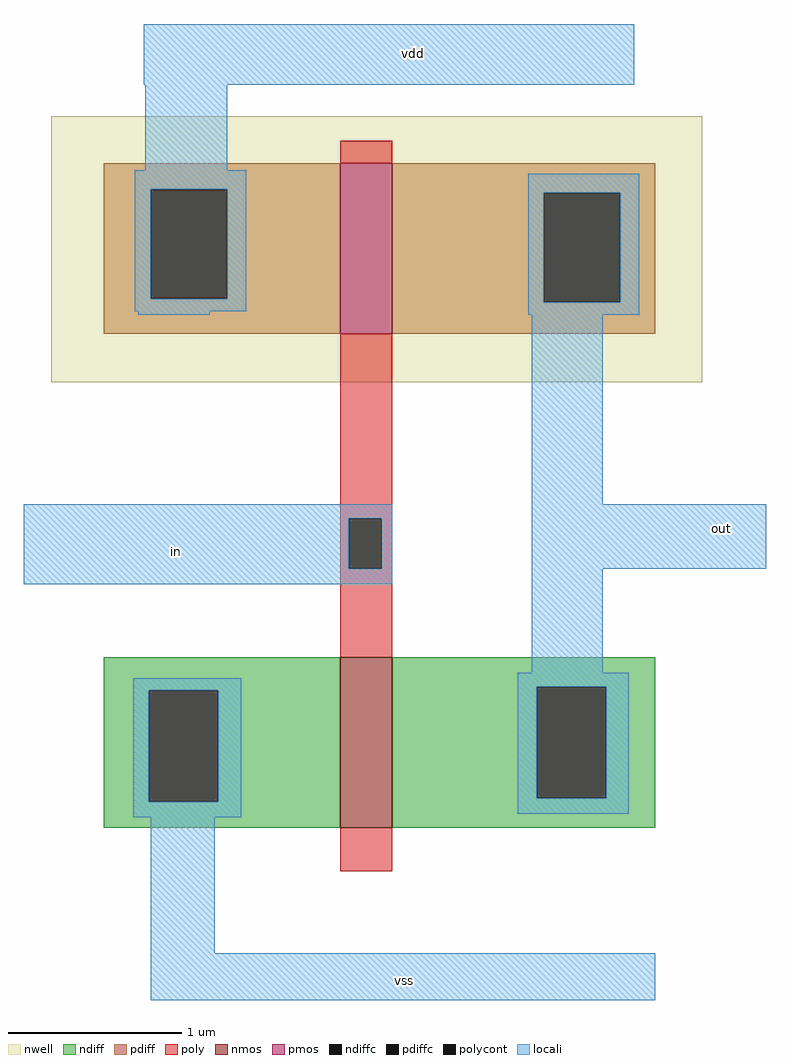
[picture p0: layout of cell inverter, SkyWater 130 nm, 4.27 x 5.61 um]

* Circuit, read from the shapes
.subckt inverter in out vdd vss
XM1 out in vss VSUBS sky130_fd_pr__nfet_01v8 w=0.98 l=0.3
XM2 out in vdd n1 sky130_fd_pr__pfet_01v8 w=0.98 l=0.3
.ends

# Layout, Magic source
magic
tech sky130A
<< nwell >>
rect -192 142 182 295
<< nmos >>
rect -26 -114 4 -16
<< pmos >>
rect -26 170 4 268
<< ndiff >>
rect -162 -35 -26 -16
rect -162 -99 -136 -35
rect -96 -99 -26 -35
rect -162 -114 -26 -99
rect 4 -33 155 -16
rect 4 -97 87 -33
rect 127 -97 155 -33
rect 4 -114 155 -97
<< pdiff >>
rect -162 253 -26 268
rect -162 190 -135 253
rect -91 190 -26 253
rect -162 170 -26 190
rect 4 251 155 268
rect 4 188 91 251
rect 135 188 155 251
rect 4 170 155 188
<< ndiffc >>
rect -136 -99 -96 -35
rect 87 -97 127 -33
<< pdiffc >>
rect -135 190 -91 253
rect 91 188 135 251
<< poly >>
rect -26 268 4 281
rect -26 64 4 170
rect -26 35 -21 64
rect -2 35 4 64
rect -26 -16 4 35
rect -26 -139 4 -114
<< polycont >>
rect -21 35 -2 64
<< locali >>
rect -139 313 143 348
rect -138 264 -91 313
rect -144 253 -80 264
rect -144 190 -135 253
rect -91 190 -80 253
rect -144 183 -80 190
rect 82 251 146 262
rect 82 188 91 251
rect 135 188 146 251
rect -142 181 -101 183
rect 82 181 146 188
rect 84 72 125 181
rect -208 64 4 72
rect -208 35 -21 64
rect -2 35 4 64
rect -208 26 4 35
rect 84 35 219 72
rect 84 -25 125 35
rect -145 -35 -83 -28
rect -145 -99 -136 -35
rect -96 -99 -83 -35
rect -145 -108 -83 -99
rect 76 -33 140 -25
rect 76 -97 87 -33
rect 127 -97 140 -33
rect 76 -106 140 -97
rect -135 -186 -98 -108
rect -135 -213 155 -186
<< labels >>
rlabel locali 193 58 193 58 1 out
rlabel locali 16 331 16 331 1 vdd
rlabel locali 11 -202 11 -202 1 vss
rlabel locali -120 45 -120 45 1 in
<< end >>
